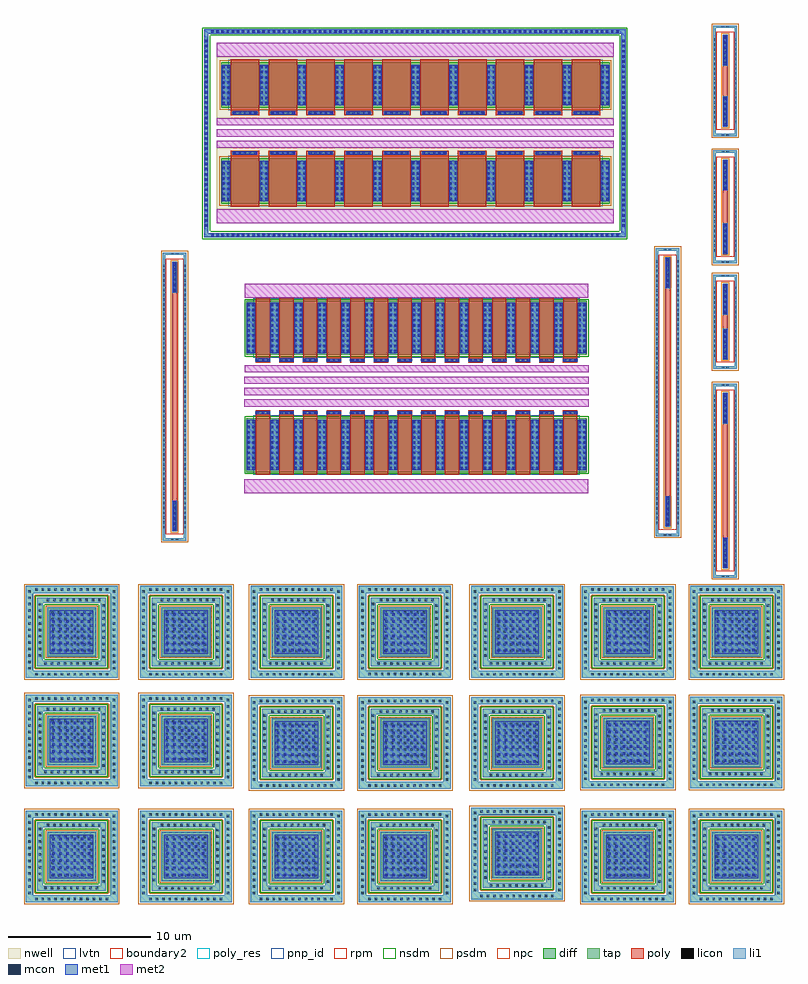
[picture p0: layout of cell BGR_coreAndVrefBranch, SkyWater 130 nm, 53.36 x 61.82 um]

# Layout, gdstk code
import gdstk
lib = gdstk.Library(unit=1e-6, precision=1e-09)
def R(c, l, rs):  # rectangles x0, y0, x1, y1
    for r in rs: c.add(gdstk.rectangle(r[:2], r[2:], *l))
def A(c, l, x, y, w, h, nx, ny, dx, dy):  # array of equal rectangles
    R(c, l, [(x+i*dx, y+j*dy, x+i*dx+w, y+j*dy+h) for i in range(nx) for j in range(ny)])
def P(c, l, *ps):  # polygons
    for p in ps: c.add(gdstk.Polygon(p, *l))
nwell = (64, 20)
diff = (65, 20)
tap = (65, 44)
poly_res = (66, 13)
poly = (66, 20)
licon = (66, 44)
li1 = (67, 20)
mcon = (67, 44)
met1 = (68, 20)
met2 = (69, 20)
pnp_id = (82, 44)
rpm = (86, 20)
nsdm = (93, 44)
psdm = (94, 20)
npc = (95, 20)
lvtn = (125, 44)
boundary2 = (236, 0)

pfet = lib.new_cell('pfet')
R(pfet, nwell, [(-0.305,-0.38,3.625,3.92)])
R(pfet, diff, [(0,0,3.32,3.2)])
R(pfet, poly, [(0.66,-0.2,2.66,3.4), (0.66,3.4,2.66,3.73)])
A(pfet, licon, 0.065, 0.255, 0.17, 0.17, 1, 8, 0, 0.36)
A(pfet, licon, 0.425, 0.255, 0.17, 0.17, 1, 8, 0, 0.36)
A(pfet, licon, 2.725, 0.255, 0.17, 0.17, 1, 8, 0, 0.36)
A(pfet, licon, 3.085, 0.255, 0.17, 0.17, 1, 8, 0, 0.36)
A(pfet, licon, 0.855, 3.48, 0.17, 0.17, 5, 1, 0.36, 0)
R(pfet, li1, [(0.065,0.175,0.595,3.025), (2.725,0.175,3.255,3.025), (0.775,3.48,2.545,3.65)])
A(pfet, mcon, 0.065, 0.255, 0.17, 0.17, 1, 8, 0, 0.36)
A(pfet, mcon, 0.425, 0.255, 0.17, 0.17, 1, 8, 0, 0.36)
A(pfet, mcon, 2.725, 0.255, 0.17, 0.17, 1, 8, 0, 0.36)
A(pfet, mcon, 3.085, 0.255, 0.17, 0.17, 1, 8, 0, 0.36)
A(pfet, mcon, 0.855, 3.48, 0.17, 0.17, 5, 1, 0.36, 0)
R(pfet, met1, [(0.035,0.195,0.625,3.005), (2.695,0.195,3.285,3.005), (0.795,3.45,2.525,3.68)])
R(pfet, psdm, [(-0.125,-0.125,3.445,3.325)])
R(pfet, npc, [(0.65,3.39,2.67,3.74)])
R(pfet, lvtn, [(0.48,-0.18,2.84,3.38)])

nfet = lib.new_cell('nfet')
R(nfet, diff, [(0,0,2.32,3.8)])
R(nfet, poly, [(0.66,-0.2,1.66,4), (0.66,4,1.66,4.33)])
A(nfet, licon, 0.065, 0.195, 0.17, 0.17, 1, 10, 0, 0.36)
A(nfet, licon, 0.425, 0.195, 0.17, 0.17, 1, 10, 0, 0.36)
A(nfet, licon, 1.725, 0.195, 0.17, 0.17, 1, 10, 0, 0.36)
A(nfet, licon, 2.085, 0.195, 0.17, 0.17, 1, 10, 0, 0.36)
A(nfet, licon, 0.715, 4.08, 0.17, 0.17, 3, 1, 0.36, 0)
R(nfet, li1, [(0.065,0.115,0.595,3.685), (1.725,0.115,2.255,3.685), (0.635,4.08,1.685,4.25)])
A(nfet, mcon, 0.065, 0.195, 0.17, 0.17, 1, 10, 0, 0.36)
A(nfet, mcon, 0.425, 0.195, 0.17, 0.17, 1, 10, 0, 0.36)
A(nfet, mcon, 1.725, 0.195, 0.17, 0.17, 1, 10, 0, 0.36)
A(nfet, mcon, 2.085, 0.195, 0.17, 0.17, 1, 10, 0, 0.36)
A(nfet, mcon, 0.715, 4.08, 0.17, 0.17, 3, 1, 0.36, 0)
R(nfet, met1, [(0.035,0.135,0.625,3.665), (1.695,0.135,2.285,3.665), (0.655,4.05,1.665,4.28)])
R(nfet, nsdm, [(-0.125,-0.125,2.445,3.925)])
R(nfet, npc, [(0.65,3.99,1.67,4.34)])
R(nfet, lvtn, [(0.48,-0.18,1.84,3.98)])

pfet_1 = lib.new_cell('pfet$1')
R(pfet_1, nwell, [(-0.305,-0.72,3.625,3.58)])
R(pfet_1, diff, [(0,0,3.32,3.2)])
R(pfet_1, poly, [(0.66,-0.53,2.66,-0.2), (0.66,-0.2,2.66,3.4)])
A(pfet_1, licon, 0.855, -0.45, 0.17, 0.17, 5, 1, 0.36, 0)
A(pfet_1, licon, 0.065, 0.255, 0.17, 0.17, 1, 8, 0, 0.36)
A(pfet_1, licon, 0.425, 0.255, 0.17, 0.17, 1, 8, 0, 0.36)
A(pfet_1, licon, 2.725, 0.255, 0.17, 0.17, 1, 8, 0, 0.36)
A(pfet_1, licon, 3.085, 0.255, 0.17, 0.17, 1, 8, 0, 0.36)
R(pfet_1, li1, [(0.775,-0.45,2.545,-0.28), (0.065,0.175,0.595,3.025), (2.725,0.175,3.255,3.025)])
A(pfet_1, mcon, 0.855, -0.45, 0.17, 0.17, 5, 1, 0.36, 0)
A(pfet_1, mcon, 0.065, 0.255, 0.17, 0.17, 1, 8, 0, 0.36)
A(pfet_1, mcon, 0.425, 0.255, 0.17, 0.17, 1, 8, 0, 0.36)
A(pfet_1, mcon, 2.725, 0.255, 0.17, 0.17, 1, 8, 0, 0.36)
A(pfet_1, mcon, 3.085, 0.255, 0.17, 0.17, 1, 8, 0, 0.36)
R(pfet_1, met1, [(0.795,-0.48,2.525,-0.25), (0.035,0.195,0.625,3.005), (2.695,0.195,3.285,3.005)])
R(pfet_1, psdm, [(-0.125,-0.125,3.445,3.325)])
R(pfet_1, npc, [(0.65,-0.54,2.67,-0.19)])
R(pfet_1, lvtn, [(0.48,-0.18,2.84,3.38)])

guard_ring_gen = lib.new_cell('guard_ring_gen')
P(guard_ring_gen, tap, [(-0.3,-0.3),(-0.3,14),(0,14),(0,0),(29,0),(29,14),(-0.3,14),(-0.3,14.3),(29.3,14.3),(29.3,-0.3)])
A(guard_ring_gen, licon, 0.195, -0.235, 0.17, 0.17, 80, 2, 0.36, 14.3)
A(guard_ring_gen, licon, -0.235, 0.435, 0.17, 0.17, 1, 37, 0, 0.36)
A(guard_ring_gen, licon, 29.065, 0.435, 0.17, 0.17, 1, 37, 0, 0.36)
P(guard_ring_gen, li1, [(-0.3,-0.3),(-0.3,14),(0,14),(0,0),(29,0),(29,14),(-0.3,14),(-0.3,14.3),(29.3,14.3),(29.3,-0.3)])
A(guard_ring_gen, mcon, 0.195, -0.235, 0.17, 0.17, 80, 2, 0.36, 14.3)
A(guard_ring_gen, mcon, -0.235, 0.435, 0.17, 0.17, 1, 37, 0, 0.36)
A(guard_ring_gen, mcon, 29.065, 0.435, 0.17, 0.17, 1, 37, 0, 0.36)
P(guard_ring_gen, met1, [(-0.3,-0.3),(-0.3,14),(0,14),(0,0),(29,0),(29,14),(-0.3,14),(-0.3,14.3),(29.3,14.3),(29.3,-0.3)])
P(guard_ring_gen, nsdm, [(-0.425,-0.425),(-0.425,13.875),(0.125,13.875),(0.125,0.125),(28.875,0.125),(28.875,13.875),(-0.425,13.875),(-0.425,14.425),(29.425,14.425),(29.425,-0.425)])

pnp_bjt = lib.new_cell('pnp_bjt')
R(pnp_bjt, nwell, [(0.765,0.765,5.935,5.935)])
R(pnp_bjt, diff, [(1.65,1.65,5.05,5.05)])
P(pnp_bjt, tap, [(0.945,0.945),(0.945,5.755),(5.395,5.755),(5.395,5.395),(1.305,5.395),(1.305,1.305),(5.395,1.305),(5.395,5.755),(5.755,5.755),(5.755,0.945)],
  [(0.13,0.13),(0.13,6.57),(6.065,6.57),(6.065,6.065),(0.635,6.065),(0.635,0.635),(6.065,0.635),(6.065,6.57),(6.57,6.57),(6.57,0.13)])
A(pnp_bjt, licon, 0.78, 0.29, 0.17, 0.17, 12, 2, 0.45, 5.935)
A(pnp_bjt, licon, 0.3, 0.71, 0.17, 0.17, 1, 13, 0, 0.45)
A(pnp_bjt, licon, 6.235, 0.71, 0.17, 0.17, 1, 13, 0, 0.45)
A(pnp_bjt, licon, 1.43, 1.04, 0.17, 0.17, 9, 1, 0.45, 0)
A(pnp_bjt, licon, 5.49, 1.51, 0.17, 0.17, 1, 9, 0, 0.45)
A(pnp_bjt, licon, 1.04, 1.605, 0.17, 0.17, 1, 9, 0, 0.45)
A(pnp_bjt, licon, 1.92, 1.92, 0.17, 0.17, 7, 7, 0.45, 0.45)
A(pnp_bjt, licon, 1.6, 5.49, 0.17, 0.17, 9, 1, 0.45, 0)
A(pnp_bjt, li1, 0.58, 0.21, 0.33, 0.33, 12, 1, 0.45, 0)
A(pnp_bjt, li1, 0.675, 0.24, 0.27, 0.27, 11, 2, 0.5, 5.96)
A(pnp_bjt, li1, 6.16, 0.54, 0.33, 0.33, 1, 13, 0, 0.45)
A(pnp_bjt, li1, 0.22, 0.63, 0.33, 0.33, 1, 13, 0, 0.45)
A(pnp_bjt, li1, 1.35, 0.96, 0.33, 0.33, 9, 1, 0.45, 0)
A(pnp_bjt, li1, 1.14, 0.985, 0.27, 0.27, 9, 1, 0.5, 0)
A(pnp_bjt, li1, 5.41, 1.43, 0.33, 0.33, 1, 9, 0, 0.45)
A(pnp_bjt, li1, 0.96, 1.525, 0.33, 0.33, 1, 9, 0, 0.45)
A(pnp_bjt, li1, 1.84, 1.84, 0.33, 0.33, 7, 7, 0.45, 0.45)
A(pnp_bjt, li1, 1.93, 1.93, 0.27, 0.27, 6, 6, 0.5, 0.5)
A(pnp_bjt, li1, 1.52, 5.41, 0.33, 0.33, 9, 1, 0.45, 0)
A(pnp_bjt, li1, 1.155, 5.44, 0.27, 0.27, 9, 1, 0.5, 0)
A(pnp_bjt, li1, 0.7, 6.165, 0.33, 0.33, 12, 1, 0.45, 0)
R(pnp_bjt, li1, [(1.615,1.615,5.085,5.085), (1.65,1.65,5.05,5.05)])
P(pnp_bjt, li1, [(0.13,0.13),(0.13,6.57),(6.075,6.57),(6.075,6.075),(0.625,6.075),(0.625,0.625),(6.075,0.625),(6.075,6.57),(6.57,6.57),(6.57,0.13)],
  [(0.945,0.945),(0.945,5.755),(5.395,5.755),(5.395,5.395),(1.305,5.395),(1.305,1.305),(5.395,1.305),(5.395,5.755),(5.755,5.755),(5.755,0.945)])
A(pnp_bjt, mcon, 1.98, 1.98, 0.17, 0.17, 6, 6, 0.5, 0.5)
A(pnp_bjt, met1, 1.93, 1.93, 0.27, 0.27, 6, 6, 0.5, 0.5)
R(pnp_bjt, met1, [(1.825,1.825,4.875,4.875)])
R(pnp_bjt, pnp_id, [(0.135,0.135,6.565,6.565)])
P(pnp_bjt, nsdm, [(0.805,0.805),(0.805,5.895),(5.265,5.895),(5.265,5.265),(1.435,5.265),(1.435,1.435),(5.265,1.435),(5.265,5.895),(5.895,5.895),(5.895,0.805)])
R(pnp_bjt, psdm, [(1.52,1.52,5.18,5.18)])
P(pnp_bjt, psdm, [(0,0),(0,6.7),(5.935,6.7),(5.935,5.935),(0.765,5.935),(0.765,0.765),(5.935,0.765),(5.935,6.7),(6.7,6.7),(6.7,0)])
R(pnp_bjt, boundary2, [(0.13,0.13,6.57,6.57)])
pnp_bjt.add(gdstk.Label('Emitter', (3.39,3.39), layer=67, texttype=5))
pnp_bjt.add(gdstk.Label('Collector', (3.32,6.38), layer=67, texttype=5))
pnp_bjt.add(gdstk.Label('Base', (3.245,5.61), layer=67, texttype=5))

res_poly = lib.new_cell('res_poly')
R(res_poly, tap, [(-0.825,-10.11,0.825,-9.94), (-0.825,-9.94,-0.655,9.94), (0.655,-9.94,0.825,9.94), (-0.825,9.94,0.825,10.11)])
R(res_poly, poly_res, [(-0.175,-7.36,0.175,7.36)])
R(res_poly, poly, [(-0.175,-9.46,0.175,9.46)])
A(res_poly, licon, -0.825, -9.265, 0.17, 0.17, 1, 55, 0, 0.34)
A(res_poly, licon, 0.655, -9.265, 0.17, 0.17, 1, 55, 0, 0.34)
R(res_poly, licon, [(-0.255,-10.11,-0.085,-9.94), (0.085,-10.11,0.255,-9.94), (-0.095,-9.38,0.095,-7.38), (-0.095,7.38,0.095,9.38), (-0.255,9.94,-0.085,10.11), (0.085,9.94,0.255,10.11)])
R(res_poly, li1, [(-0.825,-10.11,0.825,-9.94), (-0.825,-9.94,-0.655,9.94), (0.655,-9.94,0.825,9.94), (-0.175,-9.46,0.175,-7.3), (-0.175,7.3,0.175,9.46), (-0.825,9.94,0.825,10.11)])
A(res_poly, mcon, -0.085, -9.36, 0.17, 0.17, 1, 6, 0, 0.36)
A(res_poly, mcon, -0.085, 7.395, 0.17, 0.17, 1, 6, 0, 0.36)
R(res_poly, met1, [(-0.125,-9.43,0.125,-7.325), (-0.125,7.325,0.125,9.43)])
R(res_poly, rpm, [(-0.635,-9.66,0.635,9.66)])
R(res_poly, psdm, [(-0.95,-10.235,0.95,10.235)])
R(res_poly, npc, [(-0.27,-9.555,0.27,9.555)])

res_poly_3 = lib.new_cell('res_poly$3')
R(res_poly_3, tap, [(-0.825,-10.11,0.825,-9.94), (-0.825,-9.94,-0.655,9.94), (0.655,-9.94,0.825,9.94), (-0.825,9.94,0.825,10.11)])
R(res_poly_3, poly_res, [(-0.175,-7.36,0.175,7.36)])
R(res_poly_3, poly, [(-0.175,-9.46,0.175,9.46)])
A(res_poly_3, licon, -0.825, -9.265, 0.17, 0.17, 1, 55, 0, 0.34)
A(res_poly_3, licon, 0.655, -9.265, 0.17, 0.17, 1, 55, 0, 0.34)
R(res_poly_3, licon, [(-0.255,-10.11,-0.085,-9.94), (0.085,-10.11,0.255,-9.94), (-0.095,-9.38,0.095,-7.38), (-0.095,7.38,0.095,9.38), (-0.255,9.94,-0.085,10.11), (0.085,9.94,0.255,10.11)])
R(res_poly_3, li1, [(-0.825,-10.11,0.825,-9.94), (-0.825,-9.94,-0.655,9.94), (0.655,-9.94,0.825,9.94), (-0.175,-9.46,0.175,-7.3), (-0.175,7.3,0.175,9.46), (-0.825,9.94,0.825,10.11)])
A(res_poly_3, mcon, -0.085, -9.36, 0.17, 0.17, 1, 6, 0, 0.36)
A(res_poly_3, mcon, -0.085, 7.395, 0.17, 0.17, 1, 6, 0, 0.36)
R(res_poly_3, met1, [(-0.125,-9.43,0.125,-7.325), (-0.125,7.325,0.125,9.43)])
R(res_poly_3, rpm, [(-0.635,-9.66,0.635,9.66)])
R(res_poly_3, psdm, [(-0.95,-10.235,0.95,10.235)])
R(res_poly_3, npc, [(-0.27,-9.555,0.27,9.555)])

res_poly_2 = lib.new_cell('res_poly$2')
R(res_poly_2, tap, [(-0.825,-3.885,0.825,-3.715), (-0.825,-3.715,-0.655,3.715), (0.655,-3.715,0.825,3.715), (-0.825,3.715,0.825,3.885)])
R(res_poly_2, poly_res, [(-0.175,-1.135,0.175,1.135)])
R(res_poly_2, poly, [(-0.175,-3.235,0.175,3.235)])
A(res_poly_2, licon, -0.825, -2.975, 0.17, 0.17, 1, 18, 0, 0.34)
A(res_poly_2, licon, 0.655, -2.975, 0.17, 0.17, 1, 18, 0, 0.34)
R(res_poly_2, licon, [(-0.255,-3.885,-0.085,-3.715), (0.085,-3.885,0.255,-3.715), (-0.095,-3.155,0.095,-1.155), (-0.095,1.155,0.095,3.155), (-0.255,3.715,-0.085,3.885), (0.085,3.715,0.255,3.885)])
R(res_poly_2, li1, [(-0.825,-3.885,0.825,-3.715), (-0.825,-3.715,-0.655,3.715), (0.655,-3.715,0.825,3.715), (-0.175,-3.235,0.175,-1.075), (-0.175,1.075,0.175,3.235), (-0.825,3.715,0.825,3.885)])
A(res_poly_2, mcon, -0.085, -3.135, 0.17, 0.17, 1, 6, 0, 0.36)
A(res_poly_2, mcon, -0.085, 1.17, 0.17, 0.17, 1, 6, 0, 0.36)
R(res_poly_2, met1, [(-0.125,-3.205,0.125,-1.1), (-0.125,1.1,0.125,3.205)])
R(res_poly_2, rpm, [(-0.635,-3.435,0.635,3.435)])
R(res_poly_2, psdm, [(-0.95,-4.01,0.95,4.01)])
R(res_poly_2, npc, [(-0.27,-3.33,0.27,3.33)])

res_poly_4 = lib.new_cell('res_poly$4')
R(res_poly_4, tap, [(-0.825,-3.96,0.825,-3.79), (-0.825,-3.79,-0.655,3.79), (0.655,-3.79,0.825,3.79), (-0.825,3.79,0.825,3.96)])
R(res_poly_4, poly_res, [(-0.175,-1.21,0.175,1.21)])
R(res_poly_4, poly, [(-0.175,-3.31,0.175,3.31)])
A(res_poly_4, licon, -0.825, -3.145, 0.17, 0.17, 1, 19, 0, 0.34)
A(res_poly_4, licon, 0.655, -3.145, 0.17, 0.17, 1, 19, 0, 0.34)
R(res_poly_4, licon, [(-0.255,-3.96,-0.085,-3.79), (0.085,-3.96,0.255,-3.79), (-0.095,-3.23,0.095,-1.23), (-0.095,1.23,0.095,3.23), (-0.255,3.79,-0.085,3.96), (0.085,3.79,0.255,3.96)])
R(res_poly_4, li1, [(-0.825,-3.96,0.825,-3.79), (-0.825,-3.79,-0.655,3.79), (0.655,-3.79,0.825,3.79), (-0.175,-3.31,0.175,-1.15), (-0.175,1.15,0.175,3.31), (-0.825,3.79,0.825,3.96)])
A(res_poly_4, mcon, -0.085, -3.21, 0.17, 0.17, 1, 6, 0, 0.36)
A(res_poly_4, mcon, -0.085, 1.245, 0.17, 0.17, 1, 6, 0, 0.36)
R(res_poly_4, met1, [(-0.125,-3.285,0.125,-1.175), (-0.125,1.175,0.125,3.285)])
R(res_poly_4, rpm, [(-0.635,-3.51,0.635,3.51)])
R(res_poly_4, psdm, [(-0.95,-4.085,0.95,4.085)])
R(res_poly_4, npc, [(-0.27,-3.405,0.27,3.405)])

res_poly_5 = lib.new_cell('res_poly$5')
R(res_poly_5, tap, [(-0.825,-3.31,0.825,-3.14), (-0.825,-3.14,-0.655,3.14), (0.655,-3.14,0.825,3.14), (-0.825,3.14,0.825,3.31)])
R(res_poly_5, poly_res, [(-0.175,-0.56,0.175,0.56)])
R(res_poly_5, poly, [(-0.175,-2.66,0.175,2.66)])
A(res_poly_5, licon, -0.825, -2.465, 0.17, 0.17, 1, 15, 0, 0.34)
A(res_poly_5, licon, 0.655, -2.465, 0.17, 0.17, 1, 15, 0, 0.34)
R(res_poly_5, licon, [(-0.255,-3.31,-0.085,-3.14), (0.085,-3.31,0.255,-3.14), (-0.095,-2.58,0.095,-0.58), (-0.095,0.58,0.095,2.58), (-0.255,3.14,-0.085,3.31), (0.085,3.14,0.255,3.31)])
R(res_poly_5, li1, [(-0.825,-3.31,0.825,-3.14), (-0.825,-3.14,-0.655,3.14), (0.655,-3.14,0.825,3.14), (-0.175,-2.66,0.175,-0.5), (-0.175,0.5,0.175,2.66), (-0.825,3.14,0.825,3.31)])
A(res_poly_5, mcon, -0.085, -2.56, 0.17, 0.17, 1, 6, 0, 0.36)
A(res_poly_5, mcon, -0.085, 0.595, 0.17, 0.17, 1, 6, 0, 0.36)
R(res_poly_5, met1, [(-0.125,-2.63,0.125,-0.525), (-0.125,0.525,0.125,2.63)])
R(res_poly_5, rpm, [(-0.635,-2.86,0.635,2.86)])
R(res_poly_5, psdm, [(-0.95,-3.435,0.95,3.435)])
R(res_poly_5, npc, [(-0.27,-2.755,0.27,2.755)])

res_poly_7 = lib.new_cell('res_poly$7')
R(res_poly_7, tap, [(-0.825,-6.81,0.825,-6.64), (-0.825,-6.64,-0.655,6.64), (0.655,-6.64,0.825,6.64), (-0.825,6.64,0.825,6.81)])
R(res_poly_7, poly_res, [(-0.175,-4.06,0.175,4.06)])
R(res_poly_7, poly, [(-0.175,-6.16,0.175,6.16)])
A(res_poly_7, licon, -0.825, -6.035, 0.17, 0.17, 1, 36, 0, 0.34)
A(res_poly_7, licon, 0.655, -6.035, 0.17, 0.17, 1, 36, 0, 0.34)
R(res_poly_7, licon, [(-0.255,-6.81,-0.085,-6.64), (0.085,-6.81,0.255,-6.64), (-0.095,-6.08,0.095,-4.08), (-0.095,4.08,0.095,6.08), (-0.255,6.64,-0.085,6.81), (0.085,6.64,0.255,6.81)])
R(res_poly_7, li1, [(-0.825,-6.81,0.825,-6.64), (-0.825,-6.64,-0.655,6.64), (0.655,-6.64,0.825,6.64), (-0.175,-6.16,0.175,-4), (-0.175,4,0.175,6.16), (-0.825,6.64,0.825,6.81)])
A(res_poly_7, mcon, -0.085, -6.06, 0.17, 0.17, 1, 6, 0, 0.36)
A(res_poly_7, mcon, -0.085, 4.095, 0.17, 0.17, 1, 6, 0, 0.36)
R(res_poly_7, met1, [(-0.125,-6.13,0.125,-4.025), (-0.125,4.025,0.125,6.13)])
R(res_poly_7, rpm, [(-0.635,-6.36,0.635,6.36)])
R(res_poly_7, psdm, [(-0.95,-6.935,0.95,6.935)])
R(res_poly_7, npc, [(-0.27,-6.255,0.27,6.255)])

bgr_coreandvrefbranch = lib.new_cell('BGR_coreAndVrefBranch')
R(bgr_coreandvrefbranch, lvtn, [(109.933,41.016,132.872,45.176), (109.932,49.242,132.871,53.403), (108.17,59.855,134.47,63.415), (113.49,59.856,129.15,63.416), (108.175,66.596,134.475,70.156), (113.495,66.596,129.155,70.156)])
bgr_coreandvrefbranch.add(gdstk.FlexPath([(135.262,70.856),(107.39,70.856)], 1, ends="flush", simple_path=True, layer=69, datatype=20))  # met2
bgr_coreandvrefbranch.add(gdstk.FlexPath([(135.262,65.806),(107.391,65.806)], 0.5, ends="flush", simple_path=True, layer=69, datatype=20))  # met2
bgr_coreandvrefbranch.add(gdstk.FlexPath([(135.262,64.206),(107.384,64.206)], 0.5, ends="flush", simple_path=True, layer=69, datatype=20))  # met2
bgr_coreandvrefbranch.add(gdstk.FlexPath([(135.254,59.156),(107.384,59.156)], 1, ends="flush", simple_path=True, layer=69, datatype=20))  # met2
bgr_coreandvrefbranch.add(gdstk.FlexPath([(135.262,65.006),(107.391,65.006)], 0.5, ends="flush", simple_path=True, layer=69, datatype=20))  # met2
bgr_coreandvrefbranch.add(gdstk.FlexPath([(133.481,48.454),(109.328,48.454)], 0.5, ends="flush", simple_path=True, layer=69, datatype=20))  # met2
bgr_coreandvrefbranch.add(gdstk.FlexPath([(133.48,47.653),(109.321,47.653)], 0.5, ends="flush", simple_path=True, layer=69, datatype=20))  # met2
bgr_coreandvrefbranch.add(gdstk.FlexPath([(133.491,46.854),(109.32,46.854)], 0.5, ends="flush", simple_path=True, layer=69, datatype=20))  # met2
bgr_coreandvrefbranch.add(gdstk.FlexPath([(133.491,46.054),(109.319,46.054)], 0.5, ends="flush", simple_path=True, layer=69, datatype=20))  # met2
bgr_coreandvrefbranch.add(gdstk.FlexPath([(133.473,53.94),(109.328,53.94)], 1, ends="flush", simple_path=True, layer=69, datatype=20))  # met2
bgr_coreandvrefbranch.add(gdstk.FlexPath([(133.464,40.206),(109.315,40.206)], 1, ends="flush", simple_path=True, layer=69, datatype=20))  # met2
bgr_coreandvrefbranch.add(gdstk.Reference(pfet, (113.015,69.976), x_reflection=True))
bgr_coreandvrefbranch.add(gdstk.Reference(pfet, (115.675,69.976), x_reflection=True))
bgr_coreandvrefbranch.add(gdstk.Reference(pfet, (118.335,69.976), x_reflection=True))
bgr_coreandvrefbranch.add(gdstk.Reference(pfet, (120.995,69.976), x_reflection=True))
bgr_coreandvrefbranch.add(gdstk.Reference(pfet, (123.655,69.976), x_reflection=True))
bgr_coreandvrefbranch.add(gdstk.Reference(pfet, (126.315,69.976), x_reflection=True))
bgr_coreandvrefbranch.add(gdstk.Reference(nfet, (124.394,41.198)))
bgr_coreandvrefbranch.add(gdstk.Reference(nfet, (126.054,41.198)))
bgr_coreandvrefbranch.add(gdstk.Reference(nfet, (117.754,41.199)))
bgr_coreandvrefbranch.add(gdstk.Reference(nfet, (119.414,41.199)))
bgr_coreandvrefbranch.add(gdstk.Reference(nfet, (121.074,41.199)))
bgr_coreandvrefbranch.add(gdstk.Reference(nfet, (122.734,41.199)))
bgr_coreandvrefbranch.add(gdstk.Reference(nfet, (114.432,41.197)))
bgr_coreandvrefbranch.add(gdstk.Reference(nfet, (116.092,41.197)))
bgr_coreandvrefbranch.add(gdstk.Reference(pfet, (110.354,69.976), x_reflection=True))
bgr_coreandvrefbranch.add(gdstk.Reference(pfet_1, (128.972,63.237), x_reflection=True))
bgr_coreandvrefbranch.add(gdstk.Reference(pfet_1, (110.348,63.236), x_reflection=True))
bgr_coreandvrefbranch.add(gdstk.Reference(pfet, (115.67,60.036)))
bgr_coreandvrefbranch.add(gdstk.Reference(pfet, (126.31,60.036)))
bgr_coreandvrefbranch.add(gdstk.Reference(pfet, (123.65,60.036)))
bgr_coreandvrefbranch.add(gdstk.Reference(pfet, (120.99,60.036)))
bgr_coreandvrefbranch.add(gdstk.Reference(pfet, (118.33,60.036)))
bgr_coreandvrefbranch.add(gdstk.Reference(pfet, (113.01,60.036)))
bgr_coreandvrefbranch.add(gdstk.Reference(pfet, (107.695,69.976), x_reflection=True))
bgr_coreandvrefbranch.add(gdstk.Reference(pfet_1, (131.632,63.237), x_reflection=True))
bgr_coreandvrefbranch.add(gdstk.Reference(pfet, (131.633,69.976), x_reflection=True))
bgr_coreandvrefbranch.add(gdstk.Reference(guard_ring_gen, (106.785,57.985)))
bgr_coreandvrefbranch.add(gdstk.Reference(nfet, (111.111,41.196)))
bgr_coreandvrefbranch.add(gdstk.Reference(nfet, (112.771,41.196)))
bgr_coreandvrefbranch.add(gdstk.Reference(nfet, (129.372,41.196)))
bgr_coreandvrefbranch.add(gdstk.Reference(nfet, (127.712,41.196)))
bgr_coreandvrefbranch.add(gdstk.Reference(nfet, (109.453,41.196)))
bgr_coreandvrefbranch.add(gdstk.Reference(nfet, (131.032,41.196)))
bgr_coreandvrefbranch.add(gdstk.Reference(nfet, (109.453,53.225), x_reflection=True))
bgr_coreandvrefbranch.add(gdstk.Reference(nfet, (112.771,53.225), x_reflection=True))
bgr_coreandvrefbranch.add(gdstk.Reference(nfet, (111.111,53.225), x_reflection=True))
bgr_coreandvrefbranch.add(gdstk.Reference(nfet, (129.372,53.222), x_reflection=True))
bgr_coreandvrefbranch.add(gdstk.Reference(nfet, (127.712,53.222), x_reflection=True))
bgr_coreandvrefbranch.add(gdstk.Reference(nfet, (116.091,53.223), x_reflection=True))
bgr_coreandvrefbranch.add(gdstk.Reference(nfet, (114.431,53.223), x_reflection=True))
bgr_coreandvrefbranch.add(gdstk.Reference(nfet, (126.053,53.222), x_reflection=True))
bgr_coreandvrefbranch.add(gdstk.Reference(nfet, (124.393,53.222), x_reflection=True))
bgr_coreandvrefbranch.add(gdstk.Reference(nfet, (121.071,53.222), x_reflection=True))
bgr_coreandvrefbranch.add(gdstk.Reference(nfet, (122.731,53.222), x_reflection=True))
bgr_coreandvrefbranch.add(gdstk.Reference(nfet, (119.411,53.222), x_reflection=True))
bgr_coreandvrefbranch.add(gdstk.Reference(nfet, (117.751,53.222), x_reflection=True))
bgr_coreandvrefbranch.add(gdstk.Reference(nfet, (131.032,53.224), x_reflection=True))
bgr_coreandvrefbranch.add(gdstk.Reference(pnp_bjt, (109.614,18.82)))
bgr_coreandvrefbranch.add(gdstk.Reference(pnp_bjt, (117.23,26.634)))
bgr_coreandvrefbranch.add(gdstk.Reference(pnp_bjt, (117.229,18.819)))
bgr_coreandvrefbranch.add(gdstk.Reference(pnp_bjt, (125.114,18.82)))
bgr_coreandvrefbranch.add(gdstk.Reference(pnp_bjt, (125.112,11.058)))
bgr_coreandvrefbranch.add(gdstk.Reference(pnp_bjt, (117.227,10.855)))
bgr_coreandvrefbranch.add(gdstk.Reference(pnp_bjt, (109.612,10.855)))
bgr_coreandvrefbranch.add(gdstk.Reference(pnp_bjt, (109.615,26.632)))
bgr_coreandvrefbranch.add(gdstk.Reference(pnp_bjt, (125.115,26.632)))
bgr_coreandvrefbranch.add(gdstk.Reference(pfet, (128.974,69.976), x_reflection=True))
bgr_coreandvrefbranch.add(gdstk.Reference(pfet_1, (107.69,63.235), x_reflection=True))
bgr_coreandvrefbranch.add(gdstk.Reference(pnp_bjt, (101.857,19.003)))
bgr_coreandvrefbranch.add(gdstk.Reference(pnp_bjt, (101.857,10.857)))
bgr_coreandvrefbranch.add(gdstk.Reference(pnp_bjt, (132.888,18.873)))
bgr_coreandvrefbranch.add(gdstk.Reference(pnp_bjt, (132.888,26.631)))
bgr_coreandvrefbranch.add(gdstk.Reference(pnp_bjt, (101.857,26.632)))
bgr_coreandvrefbranch.add(gdstk.Reference(pnp_bjt, (132.888,10.857)))
bgr_coreandvrefbranch.add(gdstk.Reference(pnp_bjt, (140.501,10.857)))
bgr_coreandvrefbranch.add(gdstk.Reference(pnp_bjt, (140.501,18.872)))
bgr_coreandvrefbranch.add(gdstk.Reference(pnp_bjt, (93.841,26.632)))
bgr_coreandvrefbranch.add(gdstk.Reference(pnp_bjt, (93.841,19.004)))
bgr_coreandvrefbranch.add(gdstk.Reference(pnp_bjt, (93.841,10.859)))
bgr_coreandvrefbranch.add(gdstk.Reference(pnp_bjt, (140.501,26.632)))
bgr_coreandvrefbranch.add(gdstk.Reference(res_poly, (104.417,46.504)))
bgr_coreandvrefbranch.add(gdstk.Reference(res_poly_3, (139.029,46.813)))
bgr_coreandvrefbranch.add(gdstk.Reference(res_poly_2, (143.076,68.669)))
bgr_coreandvrefbranch.add(gdstk.Reference(res_poly_4, (143.076,59.82)))
bgr_coreandvrefbranch.add(gdstk.Reference(res_poly_5, (143.076,51.759)))
bgr_coreandvrefbranch.add(gdstk.Reference(res_poly_7, (143.076,40.603)))

lib.write_gds('BGR_coreAndVrefBranch.gds')
